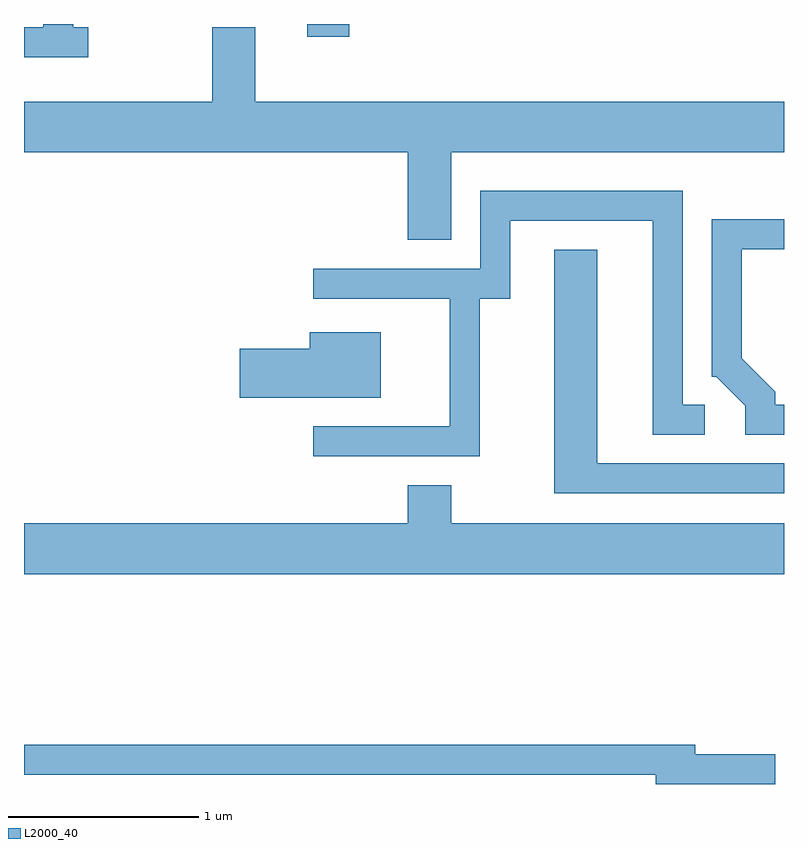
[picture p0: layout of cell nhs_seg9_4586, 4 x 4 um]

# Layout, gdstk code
import gdstk
lib = gdstk.Library(unit=1e-6, precision=1e-09)
def R(c, l, rs):  # rectangles x0, y0, x1, y1
    for r in rs: c.add(gdstk.rectangle(r[:2], r[2:], *l))
def P(c, l, *ps):  # polygons
    for p in ps: c.add(gdstk.Polygon(p, *l))
L2000_40 = (2000, 40)

nhs_seg9_4586 = lib.new_cell('nhs_seg9_4586')
R(nhs_seg9_4586, L2000_40, [(321.101,2052.366,321.324,2052.432)])
P(nhs_seg9_4586, L2000_40, [(319.948,2052.414),(319.869,2052.414),(319.869,2052.432),(319.711,2052.432),(319.711,2052.414),(319.611,2052.414),(319.611,2052.256),(319.948,2052.256)],
  [(321.859,2051.756),(323.611,2051.756),(323.611,2052.024),(320.829,2052.024),(320.829,2052.414),(320.601,2052.414),(320.601,2052.024),(319.611,2052.024),(319.611,2051.756),(321.631,2051.756),(321.631,2051.296),(321.859,2051.296)],
  [(322.009,2050.986),(322.169,2050.986),(322.169,2051.396),(322.921,2051.396),(322.921,2050.271),(323.193,2050.271),(323.193,2050.429),(323.079,2050.429),(323.079,2051.554),(322.011,2051.554),(322.011,2051.144),(321.133,2051.144),(321.133,2050.986),(321.851,2050.986),(321.851,2050.314),(321.133,2050.314),(321.133,2050.156),(322.009,2050.156)],
  [(323.611,2050.429),(323.564,2050.429),(323.564,2050.497),(323.389,2050.672),(323.389,2051.246),(323.611,2051.246),(323.611,2051.404),(323.231,2051.404),(323.231,2050.576),(323.254,2050.576),(323.406,2050.423),(323.406,2050.271),(323.611,2050.271)],
  [(323.611,2050.119),(322.629,2050.119),(322.629,2051.244),(322.401,2051.244),(322.401,2049.961),(323.611,2049.961)],
  [(321.489,2050.809),(321.116,2050.809),(321.116,2050.724),(320.746,2050.724),(320.746,2050.466),(321.489,2050.466)],
  [(321.631,2050.004),(321.631,2049.804),(319.611,2049.804),(319.611,2049.536),(323.611,2049.536),(323.611,2049.804),(321.859,2049.804),(321.859,2050.004)],
  [(323.564,2048.589),(323.144,2048.589),(323.144,2048.639),(319.611,2048.639),(319.611,2048.481),(322.936,2048.481),(322.936,2048.432),(323.564,2048.432)])

lib.write_gds('nhs_seg9_4586.gds')
